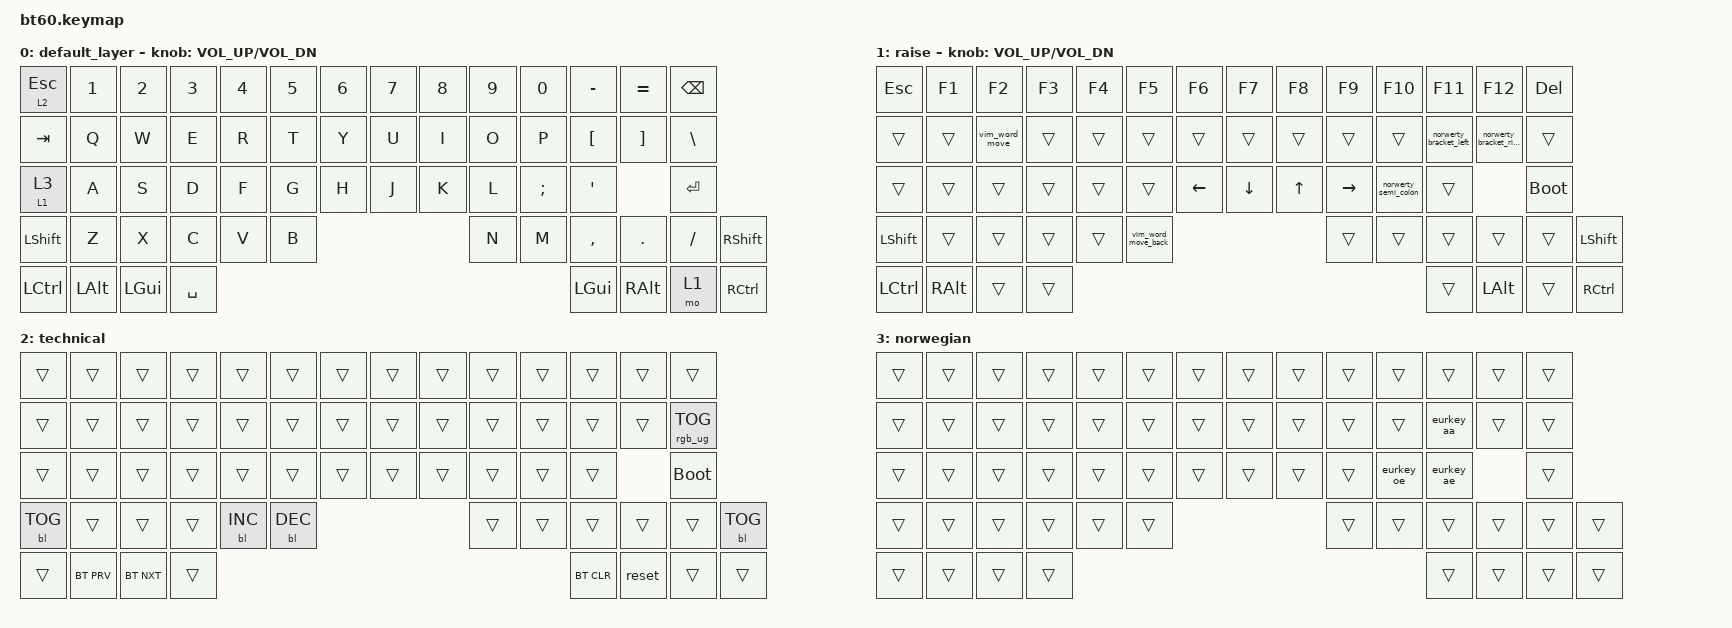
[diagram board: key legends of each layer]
#include <behaviors.dtsi>
#include <dt-bindings/zmk/keys.h>
#include <dt-bindings/zmk/bt.h>
#include <dt-bindings/zmk/rgb.h>
#include <dt-bindings/zmk/backlight.h>

/ {
	macros {
        eurkey_ae: eurkey_ae {
            label = "eurkey_ae";
            compatible = "zmk,behavior-macro";
			#binding-cells = <0>;
			wait-ms = <0>;
			tap-ms = <0>;
            bindings
				= <&macro_press &kp RALT>
                , <&macro_tap &kp Q>
                , <&macro_release &kp RALT>
                ;
        };
        eurkey_aa: eurkey_aa {
            label = "eurkey_aa";
            compatible = "zmk,behavior-macro";
			#binding-cells = <0>;
			wait-ms = <0>;
			tap-ms = <0>;
            bindings
				= <&macro_press &kp RALT>
                , <&macro_tap &kp W>
                , <&macro_release &kp RALT>
                ;
        };
        eurkey_oe: eurkey_oe {
            label = "eurkey_oe";
            compatible = "zmk,behavior-macro";
			#binding-cells = <0>;
			wait-ms = <0>;
			tap-ms = <0>;
            bindings
				= <&macro_press &kp RALT>
                , <&macro_tap &kp L>
                , <&macro_release &kp RALT>
                ;
        };
        norwerty_bracket_left: norwerty_bracket_left {
            label = "norwerty_bracket_left";
            compatible = "zmk,behavior-macro";
			#binding-cells = <0>;
			wait-ms = <0>;
			tap-ms = <0>;
            bindings
                = <&macro_press &kp LSHFT>
				, <&macro_press &kp LALT>
                , <&macro_tap &kp LBKT>
                , <&macro_release &kp LSHFT>
                , <&macro_release &kp LALT>
                ;
        };
        norwerty_bracket_right: norwerty_bracket_right {
            label = "norwerty_bracket_right";
            compatible = "zmk,behavior-macro";
			#binding-cells = <0>;
			wait-ms = <0>;
			tap-ms = <0>;
            bindings
                = <&macro_press &kp LSHFT>
				, <&macro_press &kp LALT>
                , <&macro_tap &kp RBKT>
                , <&macro_release &kp LSHFT>
                , <&macro_release &kp LALT>
                ;
        };
        norwerty_semi_colon: norwerty_semi_colon {
            label = "norwerty_semi_colon";
            compatible = "zmk,behavior-macro";
			#binding-cells = <0>;
			wait-ms = <0>;
			tap-ms = <0>;
            bindings
				= <&macro_press &kp LALT>
                , <&macro_tap &kp SEMI>
                , <&macro_release &kp LALT>
                ;
        };
        vim_word_move: vim_word_move {
            label = "vim_word_move";
            compatible = "zmk,behavior-macro";
			#binding-cells = <0>;
			wait-ms = <0>;
			tap-ms = <0>;
            bindings
                = <&macro_press &kp RALT>
                , <&macro_tap &kp RIGHT>
                , <&macro_release &kp RALT>
                ;
        };
        vim_word_move_back: vim_word_move_back {
            label = "vim_word_move_back";
            compatible = "zmk,behavior-macro";
			#binding-cells = <0>;
			wait-ms = <0>;
			tap-ms = <0>;
            bindings
                = <&macro_press &kp RALT>
                , <&macro_tap &kp LEFT>
                , <&macro_release &kp RALT>
                ;
        };
    };
	behaviors {
		mo_tog: behavior_mo_tog {
			compatible = "zmk,behavior-hold-tap";
			label = "mo_tog";
			#binding-cells = <2>;
			flavor = "hold-preferred";
			tapping-term-ms = <200>;
			bindings = <&mo>, <&tog>;
		};
	};


	keymap {
		compatible = "zmk,keymap";

		default_layer {
				// ------------------------------------------------------------------------------------------
				// |  `  |  1  |  2  |  3  |  4  |  5  |  6  |  7  |  8  |  9  |  0  |  -  |  =  |   BKSP
				// | TAB  |  Q  |  W  |  E  |  R  |  T  |  Y  |  U  |  I  |  O  |  P  |  [  |  ]  |   |
				// | CAPS  |  A  |  S  |  D  |  F  |  G  |  H  |  J  |  K  |  L  |  ;  |  '  |     ENTER
				// |  SHIFT    |  Z  |  X  |  C  |  V  |  B  |  N  |  M  |  ,  |  .  | /   |      SHIFT
				// |  CTL  |  ALT  |  WIN  |            SPACE               | WIN | ALT    |  1    |  CTRL
				// ------------------------------------------------------------------------------------------
			bindings = <
				&lt 2 ESC &kp N1 &kp N2 &kp N3 &kp N4 &kp N5 &kp N6 &kp N7 &kp  N8   &kp  N9 &kp  N0  &kp MINUS &kp EQUAL &kp BSPC
				&kp TAB  &kp Q  &kp W  &kp E  &kp R  &kp T  &kp Y  &kp U  &kp  I    &kp  O  &kp  P   &kp LBKT &kp RBKT   &kp BSLH
				&mo_tog 1 3  &kp A  &kp S  &kp D  &kp F  &kp G  &kp H  &kp J  &kp  K    &kp  L  &kp SEMI &kp SQT         &kp RET
				&kp LSHFT  &kp Z  &kp X  &kp C  &kp V  &kp B  &kp N  &kp M  &kp COMMA &kp DOT &kp FSLH                   &kp RSHFT
				&kp LCTRL &kp LALT &kp     LGUI     &kp       SPACE                        &kp LGUI &kp RALT &mo 1       &kp RCTRL
			>;
			sensor-bindings = <&inc_dec_kp C_VOL_UP C_VOL_DN>;
		};
		raise {
			bindings = <
				&kp ESC &kp F1 &kp F2 &kp F3 &kp F4 &kp F5 &kp F6 &kp F7 &kp F8 &kp F9 &kp F10 &kp F11 &kp F12 &kp DEL
				&trans &trans &vim_word_move &trans &trans &trans &trans &trans &trans &trans &trans &norwerty_bracket_left &norwerty_bracket_right &trans
				&trans    &trans &trans &trans &trans &trans &kp LEFT &kp DOWN &kp UP &kp RIGHT &norwerty_semi_colon  &trans   &bootloader
				&kp LSHFT &trans &trans &trans &trans &vim_word_move_back &trans &trans &trans &trans &trans  &kp LSHFT
				&kp LCTRL &kp RALT  &trans              &trans                            &trans   &kp LALT   &trans &kp RCTRL
			>;
			sensor-bindings = <&inc_dec_kp C_VOL_UP C_VOL_DN>;
		};
		technical {
			bindings = <
				&trans &trans &trans &trans &trans &trans &trans &trans &trans &trans &trans &trans &trans &trans
				&trans &trans &trans &trans &trans &trans &trans &trans &trans &trans &trans &trans &trans &rgb_ug RGB_TOG
				&trans &trans &trans &trans &trans &trans &trans  &trans &trans  &trans &trans &trans   &bootloader
				&bl BL_TOG   &trans &trans &trans &bl BL_INC &bl BL_DEC &trans &trans &trans &trans &trans       &bl BL_TOG
				&trans &bt BT_PRV &bt BT_NXT             &trans                          &bt BT_CLR  &reset  &trans &trans
			>;
		};
		norwegian {
			bindings = <
				&trans &trans &trans &trans &trans &trans &trans &trans &trans &trans &trans &trans &trans &trans
				&trans &trans &trans &trans &trans &trans &trans &trans &trans &trans &trans &eurkey_aa &trans &trans
				&trans &trans &trans &trans &trans &trans &trans  &trans &trans  &trans &eurkey_oe &eurkey_ae   &trans
				&trans   &trans &trans &trans &trans &trans &trans &trans &trans &trans &trans       &trans
				&trans &trans &trans             &trans                          &trans  &trans  &trans &trans
			>;
		};
	};
};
